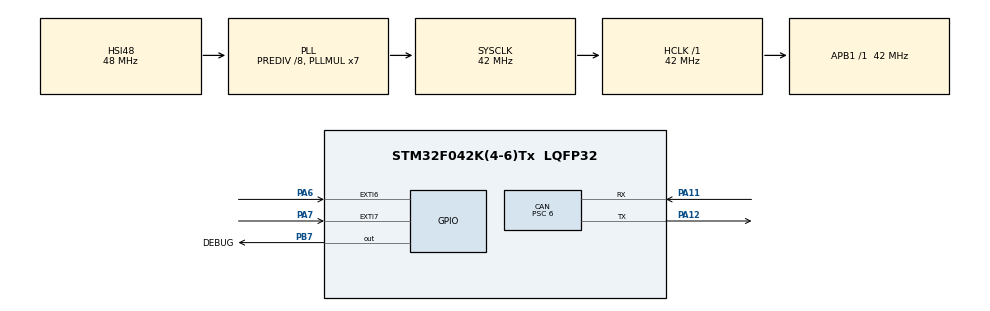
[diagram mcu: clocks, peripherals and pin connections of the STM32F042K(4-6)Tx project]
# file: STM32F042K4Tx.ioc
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CAN.BS1=CAN_BS1_11TQ
CAN.BS2=CAN_BS2_2TQ
CAN.CalculateBaudRate=500000
CAN.CalculateTimeBit=2000
CAN.CalculateTimeQuantum=142.85714285714286
CAN.Prescaler=6
Mcu.Family=STM32F0
Mcu.Name=STM32F042K(4-6)Tx
Mcu.Package=LQFP32
NVIC.EXTI4_15_IRQn=true\:0\:0\:false\:false\:true\:true\:true
NVIC.TIM16_IRQn=true\:0\:0\:false\:false\:true\:true\:true
NVIC.TIM17_IRQn=true\:0\:0\:false\:false\:true\:true\:true
PA11.Mode=CAN_Activate
PA11.Signal=CAN_RX
PA12.Mode=CAN_Activate
PA12.Signal=CAN_TX
PA13.Mode=Serial_Wire
PA13.Signal=SYS_SWDIO
PA14.Mode=Serial_Wire
PA14.Signal=SYS_SWCLK
PA6.Signal=GPXTI6
PA7.Signal=GPXTI7
PB7.GPIO_Label=DEBUG
PB7.Signal=GPIO_Output
PF0-OSC_IN.Mode=HSE-External-Oscillator
PF0-OSC_IN.Signal=RCC_OSC_IN
PF1-OSC_OUT.Mode=HSE-External-Oscillator
PF1-OSC_OUT.Signal=RCC_OSC_OUT
ProjectManager.HeapSize=0x200
ProjectManager.StackSize=0x400
ProjectManager.TargetToolchain=STM32CubeIDE
RCC.AHBFreq_Value=42000000
RCC.APB1Freq_Value=42000000
RCC.APB1TimFreq_Value=42000000
RCC.HCLKFreq_Value=42000000
RCC.HSE_VALUE=16000000
RCC.PLLDivider=RCC_PREDIV_DIV8
RCC.PLLMUL=RCC_PLL_MUL7
RCC.PLLSourceVirtual=RCC_PLLSOURCE_HSI48
RCC.SYSCLKFreq_VALUE=42000000
RCC.SYSCLKSource=RCC_SYSCLKSOURCE_PLLCLK
TIM14.Period=65535
TIM14.Prescaler=41999
TIM16.Period=9999
TIM16.Prescaler=2099
TIM17.AutoReloadPreload=TIM_AUTORELOAD_PRELOAD_ENABLE
TIM17.Period=41999
TIM17.Prescaler=199
VP_TIM14_VS_ClockSourceINT.Mode=Enable_Timer
VP_TIM16_VS_ClockSourceINT.Mode=Enable_Timer
VP_TIM17_VS_ClockSourceINT.Mode=Enable_Timer
board=custom

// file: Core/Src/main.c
/* USER CODE BEGIN Header */
/**
 ******************************************************************************
 * @file           : main.c
 * @brief          : Main program body
 ******************************************************************************
 * @attention
 *
 * <h2><center>&copy; Copyright (c) 2021 STMicroelectronics.
 * All rights reserved.</center></h2>
 *
 * This software component is licensed by ST under BSD 3-Clause license,
 * the "License"; You may not use this file except in compliance with the
 * License. You may obtain a copy of the License at:
 *                        opensource.org/licenses/BSD-3-Clause
 *
 ******************************************************************************
 */
/* USER CODE END Header */
#include "main.h"

/* USER CODE BEGIN Includes */
#include <math.h>
#include <stdio.h>
#include <stdlib.h>

/* USER CODE END Includes */

/* USER CODE BEGIN PD */
#define PI              atan(1)*4
#define RADIUS          0.057
#define CIRCUMFRENCE    2*PI*RADIUS
// what is the N for
/* USER CODE END PD */

CAN_HandleTypeDef hcan;

TIM_HandleTypeDef htim14;
TIM_HandleTypeDef htim16;
TIM_HandleTypeDef htim17;

/* USER CODE BEGIN PV */
uint32_t prev_ms = 0;
uint32_t curr_ms = 0;
uint32_t cnt = 0;
uint8_t stripe_passed = 0;
float meters_p_sec = 0;

uint8_t send_can = 0;
/* USER CODE END PV */

void SystemClock_Config(void);
static void MX_GPIO_Init(void);
static void MX_CAN_Init(void);
static void MX_TIM16_Init(void);
static void MX_TIM14_Init(void);
static void MX_TIM17_Init(void);
/* USER CODE BEGIN PFP */

float compute_rpm(int n);
void add_data(void *val, uint8_t *bytes_array, uint8_t size, uint8_t is_float,
		uint8_t start_pos);

/* USER CODE END PFP */

/* USER CODE BEGIN 0 */

//when ISR is triggered, this function will be called
void HAL_TIM_IC_CaptureCallback(TIM_HandleTypeDef *htim) {

}

/* USER CODE END 0 */

int main(void)
{

  /* MCU Configuration--------------------------------------------------------*/

  /* Reset of all peripherals, Initializes the Flash interface and the Systick. */
  HAL_Init();

  /* Configure the system clock */
  SystemClock_Config();

  /* Initialize all configured peripherals */
  MX_GPIO_Init();
  MX_CAN_Init();
  MX_TIM16_Init();
  MX_TIM14_Init();
  MX_TIM17_Init();
  /* USER CODE BEGIN 2 */
  if(CANBus_init(&hcan, &htim16)!= HAL_OK) {
    Error_Handler();
  }
  if(CANBus_subscribe(RING_ENCODER_DATA) != HAL_OK) {
    Error_Handler();
  }

  CANFrame tx_frame = CANFrame_init(RING_ENCODER_DATA);
  HAL_TIM_Base_Start(&htim14);
  HAL_TIM_Base_Start_IT(&htim16);

  /* USER CODE END 2 */

  /* Infinite loop */
	while (1) {

    /* USER CODE BEGIN 3 */
      if (stripe_passed == 1) {
        uint32_t time_elapsed_ms = curr_ms - prev_ms;
        meters_p_sec = (CIRCUMFRENCE/3)/( ((float)time_elapsed_ms)*1E3 );
        stripe_passed = 0;
      }

      if (send_can) {
        CANFrame_set_field(&tx_frame, RE_POD_SPEED, FLOAT_TO_UINT(meters_p_sec));
        if(CANBus_put_frame(&tx_frame) != HAL_OK) {
          Error_Handler();
        }
        send_can = 0;
      }
      // HAL_Delay(200);
    }
  /* USER CODE END 3 */
}

void SystemClock_Config(void)
{
  RCC_OscInitTypeDef RCC_OscInitStruct = {0};
  RCC_ClkInitTypeDef RCC_ClkInitStruct = {0};

  /** Initializes the RCC Oscillators according to the specified parameters
  * in the RCC_OscInitTypeDef structure.
  */
  RCC_OscInitStruct.OscillatorType = RCC_OSCILLATORTYPE_HSI48;
  RCC_OscInitStruct.HSI48State = RCC_HSI48_ON;
  RCC_OscInitStruct.PLL.PLLState = RCC_PLL_ON;
  RCC_OscInitStruct.PLL.PLLSource = RCC_PLLSOURCE_HSI48;
  RCC_OscInitStruct.PLL.PLLMUL = RCC_PLL_MUL7;
  RCC_OscInitStruct.PLL.PREDIV = RCC_PREDIV_DIV8;
  if (HAL_RCC_OscConfig(&RCC_OscInitStruct) != HAL_OK)
  {
    Error_Handler();
  }
  /** Initializes the CPU, AHB and APB buses clocks
  */
  RCC_ClkInitStruct.ClockType = RCC_CLOCKTYPE_HCLK|RCC_CLOCKTYPE_SYSCLK
                              |RCC_CLOCKTYPE_PCLK1;
  RCC_ClkInitStruct.SYSCLKSource = RCC_SYSCLKSOURCE_PLLCLK;
  RCC_ClkInitStruct.AHBCLKDivider = RCC_SYSCLK_DIV1;
  RCC_ClkInitStruct.APB1CLKDivider = RCC_HCLK_DIV1;

  if (HAL_RCC_ClockConfig(&RCC_ClkInitStruct, FLASH_LATENCY_1) != HAL_OK)
  {
    Error_Handler();
  }
}

static void MX_CAN_Init(void)
{

  hcan.Instance = CAN;
  hcan.Init.Prescaler = 6;
  hcan.Init.Mode = CAN_MODE_NORMAL;
  hcan.Init.SyncJumpWidth = CAN_SJW_1TQ;
  hcan.Init.TimeSeg1 = CAN_BS1_11TQ;
  hcan.Init.TimeSeg2 = CAN_BS2_2TQ;
  hcan.Init.TimeTriggeredMode = DISABLE;
  hcan.Init.AutoBusOff = DISABLE;
  hcan.Init.AutoWakeUp = DISABLE;
  hcan.Init.AutoRetransmission = DISABLE;
  hcan.Init.ReceiveFifoLocked = DISABLE;
  hcan.Init.TransmitFifoPriority = DISABLE;
  if (HAL_CAN_Init(&hcan) != HAL_OK)
  {
    Error_Handler();
  }

}

static void MX_TIM14_Init(void)
{

  /* USER CODE BEGIN TIM14_Init 1 */

  /*
   * TIM14 = timer for encoder
   * No interrupt, just a plain counter
   * freq = clock freq / (prescalar + 1) * (counter period + 1) * (repetition counter + 1)
   *      = 42 MHz/(41999 + 1)(65535 + 1)(1)
   *      = 42 MHz/(42000)(65536)
   *      ~= 0.015 Hz
   * period = 1/0.015Hz ~= 65 s
   */

  /* USER CODE END TIM14_Init 1 */
  htim14.Instance = TIM14;
  htim14.Init.Prescaler = 41999;
  htim14.Init.CounterMode = TIM_COUNTERMODE_UP;
  htim14.Init.Period = 65535;
  htim14.Init.ClockDivision = TIM_CLOCKDIVISION_DIV1;
  htim14.Init.AutoReloadPreload = TIM_AUTORELOAD_PRELOAD_DISABLE;
  if (HAL_TIM_Base_Init(&htim14) != HAL_OK)
  {
    Error_Handler();
  }

}

static void MX_TIM16_Init(void)
{

  htim16.Instance = TIM16;
  htim16.Init.Prescaler = 2099;
  htim16.Init.CounterMode = TIM_COUNTERMODE_UP;
  htim16.Init.Period = 9999;
  htim16.Init.ClockDivision = TIM_CLOCKDIVISION_DIV1;
  htim16.Init.RepetitionCounter = 0;
  htim16.Init.AutoReloadPreload = TIM_AUTORELOAD_PRELOAD_DISABLE;
  if (HAL_TIM_Base_Init(&htim16) != HAL_OK)
  {
    Error_Handler();
  }

}

static void MX_TIM17_Init(void)
{

  htim17.Instance = TIM17;
  htim17.Init.Prescaler = 199;
  htim17.Init.CounterMode = TIM_COUNTERMODE_UP;
  htim17.Init.Period = 41999;
  htim17.Init.ClockDivision = TIM_CLOCKDIVISION_DIV1;
  htim17.Init.RepetitionCounter = 0;
  htim17.Init.AutoReloadPreload = TIM_AUTORELOAD_PRELOAD_ENABLE;
  if (HAL_TIM_Base_Init(&htim17) != HAL_OK)
  {
    Error_Handler();
  }

}

static void MX_GPIO_Init(void)
{
  GPIO_InitTypeDef GPIO_InitStruct = {0};

  /* GPIO Ports Clock Enable */
  __HAL_RCC_GPIOF_CLK_ENABLE();
  __HAL_RCC_GPIOA_CLK_ENABLE();
  __HAL_RCC_GPIOB_CLK_ENABLE();

  /*Configure GPIO pin Output Level */
  HAL_GPIO_WritePin(DEBUG_GPIO_Port, DEBUG_Pin, GPIO_PIN_RESET);

  /*Configure GPIO pins : PA6 PA7 */
  GPIO_InitStruct.Pin = GPIO_PIN_6|GPIO_PIN_7;
  GPIO_InitStruct.Mode = GPIO_MODE_IT_RISING;
  GPIO_InitStruct.Pull = GPIO_NOPULL;
  HAL_GPIO_Init(GPIOA, &GPIO_InitStruct);

  /*Configure GPIO pin : DEBUG_Pin */
  GPIO_InitStruct.Pin = DEBUG_Pin;
  GPIO_InitStruct.Mode = GPIO_MODE_OUTPUT_PP;
  GPIO_InitStruct.Pull = GPIO_NOPULL;
  GPIO_InitStruct.Speed = GPIO_SPEED_FREQ_LOW;
  HAL_GPIO_Init(DEBUG_GPIO_Port, &GPIO_InitStruct);

  /* EXTI interrupt init*/
  HAL_NVIC_SetPriority(EXTI4_15_IRQn, 0, 0);
  HAL_NVIC_EnableIRQ(EXTI4_15_IRQn);

}

/* USER CODE BEGIN 4 */
void HAL_TIM_PeriodElapsedCallback(TIM_HandleTypeDef *htim) {
  /*
   * TIM16 = timer for WLoopCAN
   * tim16 should call interrupt every 200 ms
   * freq = clock freq / (prescalar + 1) * (counter period + 1) * (repetition counter + 1)
   *      = 42 MHz/(2099 + 1)(9999+1)(1)
   *      = 42 MHz/(2100)(10000)
   *      = 2 Hz
   * period = 1/2Hz = 500 ms
   */

  if (htim == (&htim16)) {
    send_can = 1;
  }

  WLoopCAN_timer_isr(htim);

  HAL_GPIO_TogglePin(GPIOB, GPIO_PIN_7);
}

// GPIO pin interrupt
void HAL_GPIO_EXTI_Callback(uint16_t GPIO_Pin)
{
  prev_ms = curr_ms;
  curr_ms = HAL_GetTick();
  stripe_passed = 1;
}

/* USER CODE END 4 */

void Error_Handler(void)
{
	__disable_irq();
	while (1) {
	}
}
